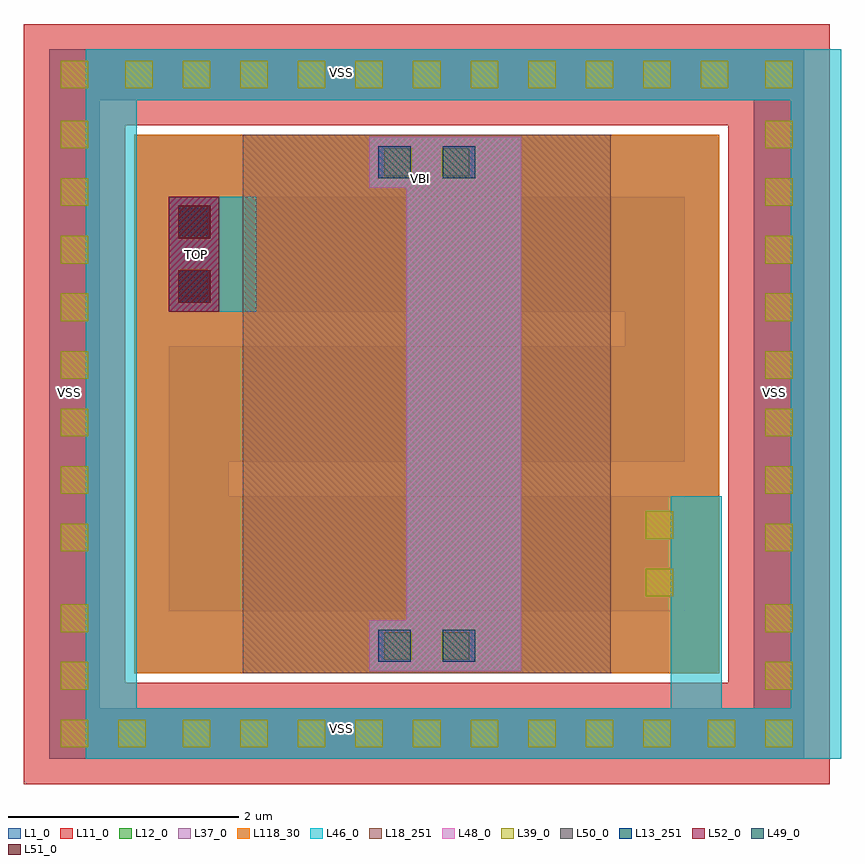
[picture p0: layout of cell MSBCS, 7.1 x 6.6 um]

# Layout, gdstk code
from math import pi, radians
import gdstk
lib = gdstk.Library(unit=1e-6, precision=1e-09)
def R(c, l, rs):  # rectangles x0, y0, x1, y1
    for r in rs: c.add(gdstk.rectangle(r[:2], r[2:], *l))
def A(c, l, x, y, w, h, nx, ny, dx, dy):  # array of equal rectangles
    R(c, l, [(x+i*dx, y+j*dy, x+i*dx+w, y+j*dy+h) for i in range(nx) for j in range(ny)])
L1_0 = (1, 0)
L11_0 = (11, 0)
L12_0 = (12, 0)
L13_251 = (13, 251)
L18_251 = (18, 251)
L37_0 = (37, 0)
L39_0 = (39, 0)
L46_0 = (46, 0)
L48_0 = (48, 0)
L49_0 = (49, 0)
L50_0 = (50, 0)
L51_0 = (51, 0)
L52_0 = (52, 0)
L118_30 = (118, 30)

m1_m2__170021932 = lib.new_cell('M1_M2$$170021932')
R(m1_m2__170021932, L13_251, [(-0.14,-0.42,0.14,-0.14), (-0.14,0.14,0.14,0.42)])
R(m1_m2__170021932, L46_0, [(-0.22,-0.5,0.22,0.5)])
R(m1_m2__170021932, L48_0, [(-0.22,-0.5,0.22,0.5)])

m2_m3__170023980 = lib.new_cell('M2_M3$$170023980')
R(m2_m3__170023980, L48_0, [(-0.22,-0.5,0.22,0.5)])
R(m2_m3__170023980, L49_0, [(-0.14,-0.42,0.14,-0.14), (-0.14,0.14,0.14,0.42)])
R(m2_m3__170023980, L50_0, [(-0.22,-0.5,0.22,0.5)])

m3_m4__170026028 = lib.new_cell('M3_M4$$170026028')
R(m3_m4__170026028, L50_0, [(-0.22,-0.5,0.22,0.5)])
R(m3_m4__170026028, L51_0, [(-0.14,-0.42,0.14,-0.14), (-0.14,0.14,0.14,0.42)])
R(m3_m4__170026028, L52_0, [(-0.22,-0.5,0.22,0.5)])

msbcs = lib.new_cell('MSBCS')
R(msbcs, L1_0, [(0.22,0.22,0.66,6.38), (0.22,0.22,6.78,0.66), (6.34,0.22,6.78,6.38), (1.26,1.5,5.74,2.5), (1.26,2.32,1.78,3.25), (1.26,2.8,5.53,3.8), (5.22,2.8,5.74,5.1), (1.26,4.1,5.54,5.1), (0.22,5.94,6.78,6.38)])
R(msbcs, L11_0, [(0,0,0.88,6.6), (0,0,7,0.88), (6.12,0,7,6.6), (0,5.72,7,6.6)])
R(msbcs, L12_0, [(0.96,0.96,6.04,5.64)])
R(msbcs, L18_251, [(1.9,0.96,5.1,5.64)])
R(msbcs, L37_0, [(0.96,0.96,6.04,5.64)])
A(msbcs, L39_0, 0.32, 0.32, 0.24, 0.24, 1, 3, 0, 0.5)
A(msbcs, L39_0, 1.38, 0.32, 0.24, 0.24, 9, 1, 0.5, 0)
A(msbcs, L39_0, 6.44, 0.32, 0.24, 0.24, 1, 3, 0, 0.5)
A(msbcs, L39_0, 0.32, 2.02, 0.24, 0.24, 1, 8, 0, 0.5)
A(msbcs, L39_0, 6.44, 2.02, 0.24, 0.24, 1, 8, 0, 0.5)
A(msbcs, L39_0, 0.88, 6.04, 0.24, 0.24, 11, 1, 0.5, 0)
R(msbcs, L39_0, [(0.82,0.32,1.06,0.56), (5.94,0.32,6.18,0.56), (3.13,1.08,3.37,1.32), (3.63,1.08,3.87,1.32), (5.4,1.63,5.64,1.87), (5.4,2.13,5.64,2.37), (1.36,4.23,1.6,4.47), (1.36,4.73,1.6,4.97), (3.13,5.28,3.37,5.52), (3.63,5.28,3.87,5.52), (0.32,6.04,0.56,6.28), (6.44,6.04,6.68,6.28)])
R(msbcs, L46_0, [(0.54,0.22,0.98,6.38), (0.54,0.22,7.1,0.66), (5.62,0.22,6.06,2.5), (6.66,0.22,7.1,6.38), (3.32,0.98,4.32,5.62), (1.58,4.1,2.02,5.1), (0.54,5.94,7.1,6.38)])
R(msbcs, L48_0, [(3.32,0.98,4.32,5.62)])
R(msbcs, L118_30, [(0.96,0.96,6.04,5.64)])
msbcs.add(gdstk.Reference(m1_m2__170021932, (3.5,5.4), rotation=pi/2))
msbcs.add(gdstk.Reference(m1_m2__170021932, (3.5,1.2), rotation=pi/2))
msbcs.add(gdstk.Reference(m1_m2__170021932, (1.48,4.6)))
msbcs.add(gdstk.Reference(m2_m3__170023980, (1.48,4.6)))
msbcs.add(gdstk.Reference(m3_m4__170026028, (1.48,4.6)))
msbcs.add(gdstk.Label('VSS', (6.52,3.4), layer=94, texttype=80))
msbcs.add(gdstk.Label('VSS', (0.4,3.4), layer=94, texttype=80))
msbcs.add(gdstk.Label('VSS', (2.76,6.18), layer=94, texttype=80))
msbcs.add(gdstk.Label('VBI', (3.45,5.26), layer=94, texttype=80))
msbcs.add(gdstk.Label('VSS', (2.76,0.48), layer=94, texttype=80))
msbcs.add(gdstk.Label('TOP', (1.5,4.6), layer=94, texttype=80))

lib.write_gds('MSBCS.gds')
